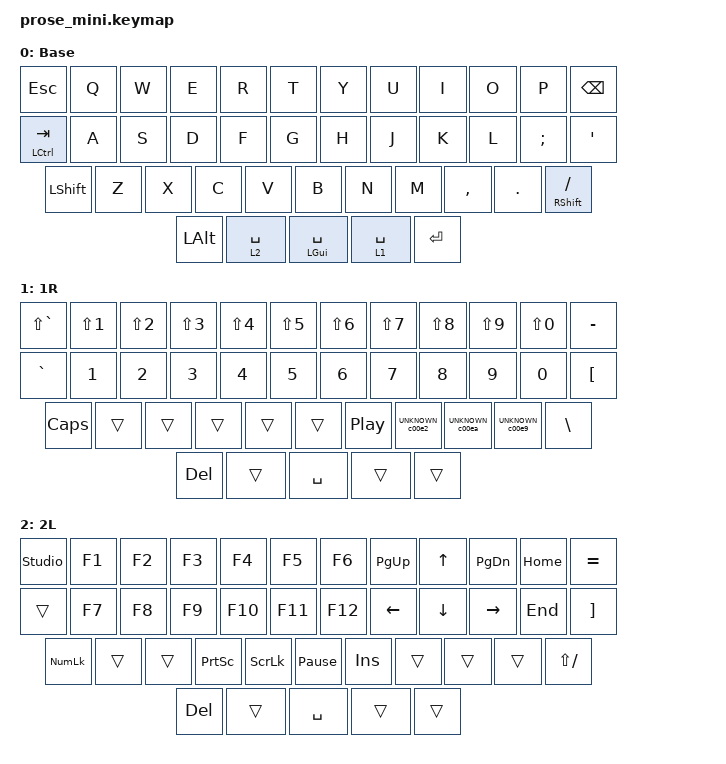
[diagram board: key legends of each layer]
// Generated ZMK keymap for Prose Mini
// Keymap: default

#include <behaviors.dtsi>
#include <dt-bindings/zmk/keys.h>
// #include <dt-bindings/zmk/studio.h>

// Layer indices
#define L0 0
#define L1 1
#define L2 2

/ {
    keymap {
        compatible = "zmk,keymap";

        layer_0 {
            label = "Base";
            bindings = <
                &kp ESCAPE
                &kp Q
                &kp W
                &kp E
                &kp R
                &kp T
                &kp Y
                &kp U
                &kp I
                &kp O
                &kp P
                &kp BACKSPACE
                &mt LCTRL TAB
                &kp A
                &kp S
                &kp D
                &kp F
                &kp G
                &kp H
                &kp J
                &kp K
                &kp L
                &kp SEMICOLON
                &kp SINGLE_QUOTE
                &kp LSHFT
                &kp Z
                &kp X
                &kp C
                &kp V
                &kp B
                &kp N
                &kp M
                &kp COMMA
                &kp PERIOD
                &mt RSHFT SLASH
                &kp LALT
                &lt 2 SPACE
                &mt LGUI SPACE
                &lt 1 SPACE
                &kp RETURN
            >;
        };

        layer_1 {
            label = "1R";
            bindings = <
                &kp LS(GRAVE)
                &kp LS(NUMBER_1)
                &kp LS(NUMBER_2)
                &kp LS(NUMBER_3)
                &kp LS(NUMBER_4)
                &kp LS(NUMBER_5)
                &kp LS(NUMBER_6)
                &kp LS(NUMBER_7)
                &kp LS(NUMBER_8)
                &kp LS(NUMBER_9)
                &kp LS(NUMBER_0)
                &kp MINUS
                &kp GRAVE
                &kp NUMBER_1
                &kp NUMBER_2
                &kp NUMBER_3
                &kp NUMBER_4
                &kp NUMBER_5
                &kp NUMBER_6
                &kp NUMBER_7
                &kp NUMBER_8
                &kp NUMBER_9
                &kp NUMBER_0
                &kp LEFT_BRACKET
                &kp CAPSLOCK
                &trans
                &trans
                &trans
                &trans
                &trans
                &kp C_PLAY_PAUSE
                &kp UNKNOWN_c00e2
                &kp UNKNOWN_c00ea
                &kp UNKNOWN_c00e9
                &kp BACKSLASH
                &kp DELETE
                &trans
                &kp SPACE
                &trans
                &trans
            >;
        };

        layer_2 {
            label = "2L";
            bindings = <
                &studio_unlock
                &kp F1
                &kp F2
                &kp F3
                &kp F4
                &kp F5
                &kp F6
                &kp PAGE_UP
                &kp UP_ARROW
                &kp PAGE_DOWN
                &kp HOME
                &kp EQUAL
                &trans
                &kp F7
                &kp F8
                &kp F9
                &kp F10
                &kp F11
                &kp F12
                &kp LEFT_ARROW
                &kp DOWN_ARROW
                &kp RIGHT_ARROW
                &kp END
                &kp RIGHT_BRACKET
                &kp KP_NUMLOCK
                &trans
                &trans
                &kp PRINTSCREEN
                &kp SCROLLLOCK
                &kp PAUSE_BREAK
                &kp INSERT
                &trans
                &trans
                &trans
                &kp LS(SLASH)
                &kp DELETE
                &trans
                &kp SPACE
                &trans
                &trans
            >;
        };
    };
};
